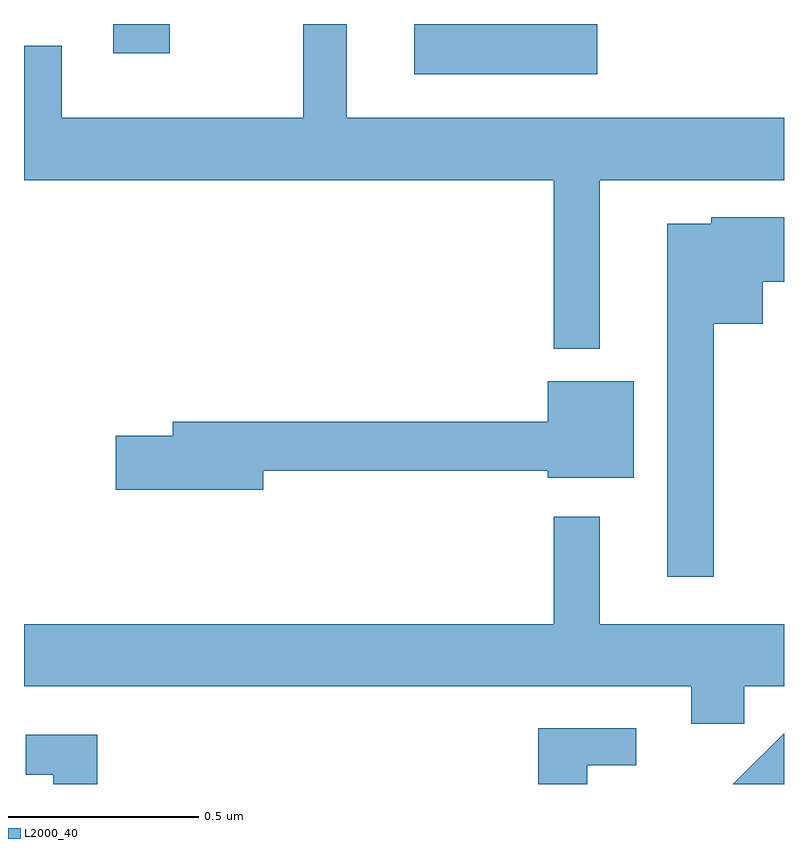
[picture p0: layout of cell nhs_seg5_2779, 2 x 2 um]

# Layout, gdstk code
import gdstk
lib = gdstk.Library(unit=1e-6, precision=1e-09)
def R(c, l, rs):  # rectangles x0, y0, x1, y1
    for r in rs: c.add(gdstk.rectangle(r[:2], r[2:], *l))
def P(c, l, *ps):  # polygons
    for p in ps: c.add(gdstk.Polygon(p, *l))
L2000_40 = (2000, 40)

nhs_seg5_2779 = lib.new_cell('nhs_seg5_2779')
R(nhs_seg5_2779, L2000_40, [(149.027,895.667,149.509,895.799), (148.235,895.722,148.383,895.799)])
P(nhs_seg5_2779, L2000_40, [(149.515,895.388),(150,895.388),(150,895.552),(148.849,895.552),(148.849,895.799),(148.735,895.799),(148.735,895.552),(148.099,895.552),(148.099,895.742),(148,895.742),(148,895.388),(149.394,895.388),(149.394,894.944),(149.515,894.944)],
  [(149.815,895.01),(149.944,895.01),(149.944,895.121),(150,895.121),(150,895.291),(149.808,895.291),(149.808,895.273),(149.693,895.273),(149.693,894.345),(149.815,894.345)],
  [(148.63,894.624),(149.378,894.624),(149.378,894.605),(149.605,894.605),(149.605,894.859),(149.378,894.859),(149.378,894.752),(148.391,894.752),(148.391,894.716),(148.242,894.716),(148.242,894.574),(148.63,894.574)],
  [(149.895,894.056),(150,894.056),(150,894.22),(149.515,894.22),(149.515,894.502),(149.394,894.502),(149.394,894.22),(148,894.22),(148,894.056),(149.756,894.056),(149.756,893.958),(149.895,893.958)],
  [(149.482,893.848),(149.611,893.848),(149.611,893.946),(149.353,893.946),(149.353,893.799),(149.482,893.799)],
  [(150,893.932),(149.941,893.873),(149.94,893.874),(149.865,893.799),(150,893.799)],
  [(148.193,893.929),(148.005,893.929),(148.005,893.823),(148.077,893.823),(148.077,893.799),(148.193,893.799)])

lib.write_gds('nhs_seg5_2779.gds')
